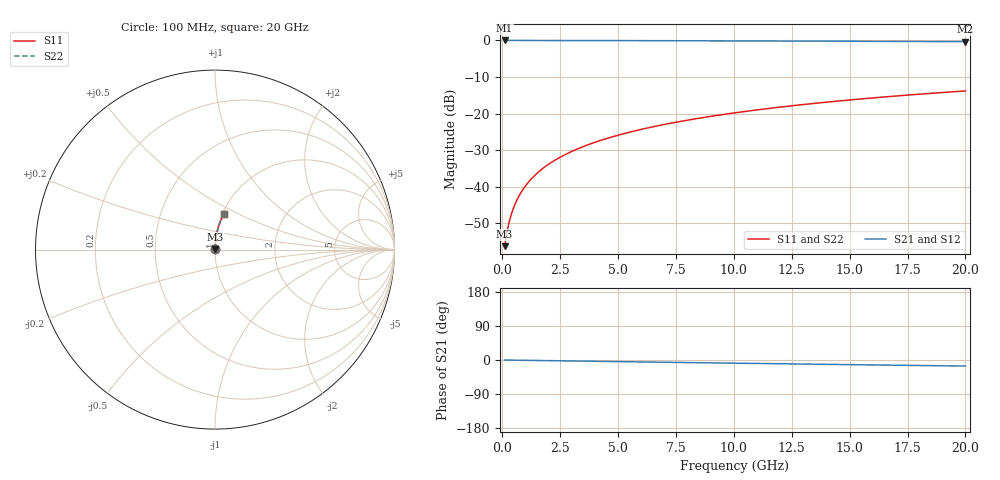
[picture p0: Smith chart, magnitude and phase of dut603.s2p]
! Touchstone file exported from HFSS 2024.1.0
!  File:  C:/UserFiles/LocalFiles/RDL_TSV_Batchsim/temp_RDL_bottom_603_1779783287.aedt
!  Generated:  04:17:09 PM May 26, 2026
!  Design:  RDL_bottom
!  Project:  temp_RDL_bottom_603_1779783287
!  Setup:  Setup1
!  Solution:  Sweep
! Variables:
!  dtsv = 10.80580581um
!  hbump = 3um
!  htsv = 79.15um
!  ldown = 179.83um
!  lrdl = 100um
!  p = 40
!  p1 = 47.19um
!  rhole = 1um
!  t = 450um
!  tdown = 4.9um
!  trdl = 3.915915916um
!  wdown = 12.91um
!  wrdl = 20um
# GHz S MA R 50.000000
! Terminal data exported
! Port[1] = RDL1_T1
! Port[2] = RDL1_T2
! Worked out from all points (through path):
!   200 points, 100 MHz to 20 GHz, reference 50 ohm
!   highest |S21| = -0.01 dB at 100 MHz (marker M1); lowest = -0.3 dB at 20 GHz (marker M2)
!   group delay of S21, straight-line fit = 2.21 ps
!   lowest |S11| = -56.3 dB at 100 MHz (marker M3), VSWR 1.00, Z = 50.1 + j0.105 ohm
!   |S11| at or under -10 dB: start of sweep to end of sweep
!   |S22| runs from -56.3 to -13.8 dB; largest |S21 - S12| = 3.3e-15
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0.1  0.001532 43.1  0.9989 -0.1  0.9989 -0.1  0.001532 43.1
! Gamma 0 0 0 0
! Port Impedance 50 0 50 0
0.2  0.002375 61.1  0.9989 -0.2  0.9989 -0.2  0.002375 61.1
0.3  0.003316 69.2  0.9988 -0.3  0.9988 -0.3  0.003316 69.2
0.4  0.004283 73.6  0.9988 -0.4  0.9988 -0.4  0.004283 73.6
0.5  0.005262 76.4  0.9987 -0.4  0.9987 -0.4  0.005262 76.4
0.6  0.006247 78.4  0.9987 -0.5  0.9987 -0.5  0.006247 78.4
0.8  0.008229 80.9  0.9986 -0.7  0.9986 -0.7  0.008229 80.9
1.1  0.01122 82.9  0.9985 -1.0  0.9985 -1.0  0.01122 82.9
1.5  0.01523 84.4  0.9983 -1.3  0.9983 -1.3  0.01523 84.4
1.8  0.01824 84.9  0.9981 -1.6  0.9981 -1.6  0.01824 84.9
2.1  0.02126 85.3  0.9978 -1.8  0.9978 -1.8  0.02126 85.3
2.7  0.0273 85.7  0.9973 -2.4  0.9973 -2.4  0.0273 85.7
3.5  0.03536 85.9  0.9964 -3.1  0.9964 -3.1  0.03536 85.9
4.2  0.04242 85.8  0.9955 -3.6  0.9955 -3.6  0.04242 85.8
5  0.05052 85.6  0.9943 -4.3  0.9943 -4.3  0.05052 85.6
5.9  0.05966 85.3  0.9928 -5.1  0.9928 -5.1  0.05966 85.3
6.8  0.06884 84.9  0.9913 -5.8  0.9913 -5.8  0.06884 84.9
8.3  0.08423 84.2  0.9885 -7.0  0.9885 -7.0  0.08423 84.2
10.1  0.1028 83.1  0.985 -8.5  0.985 -8.5  0.1028 83.1
13.4  0.1369 80.9  0.9779 -11.0  0.9779 -11.0  0.1369 80.9
16.7  0.1706 78.4  0.9704 -13.5  0.9704 -13.5  0.1706 78.4
20  0.2037 75.9  0.9622 -16.0  0.9622 -16.0  0.2037 75.9
